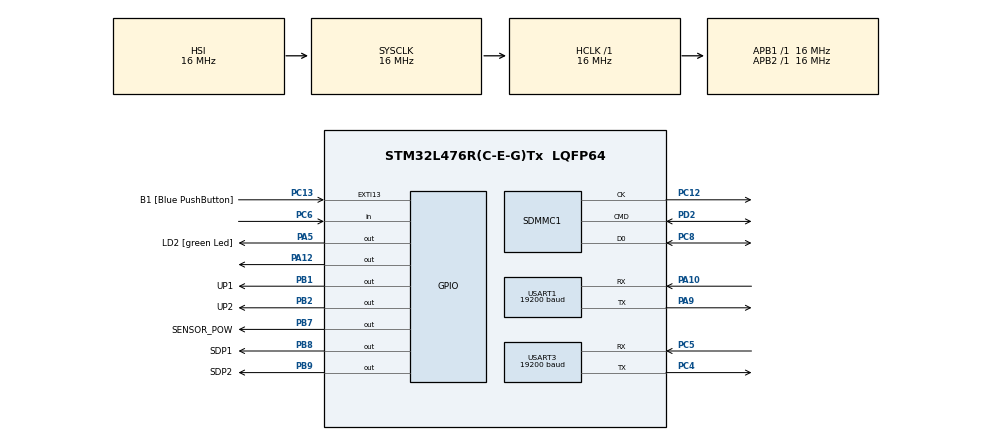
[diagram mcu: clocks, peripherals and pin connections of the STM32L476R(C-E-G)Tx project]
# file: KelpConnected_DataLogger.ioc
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FATFS.BSP.number=1
FATFS0.BSP.STBoard=false
FATFS0.BSP.api=Unknown
FATFS0.BSP.instance=PC6
FATFS0.BSP.ip=GPIO
FATFS0.BSP.mode=Input
FATFS0.BSP.name=Detect_SDIO
FATFS0.BSP.solution=PC6
Mcu.Family=STM32L4
Mcu.Name=STM32L476R(C-E-G)Tx
Mcu.Package=LQFP64
NVIC.PriorityGroup=NVIC_PRIORITYGROUP_4
NVIC.RTC_WKUP_IRQn=true\:0\:0\:false\:false\:true\:true\:true\:true
NVIC.TIM2_IRQn=true\:0\:0\:false\:false\:true\:true\:true\:true
NVIC.USART1_IRQn=true\:0\:0\:false\:false\:true\:true\:true\:true
NVIC.USART3_IRQn=true\:0\:0\:false\:false\:true\:true\:true\:true
PA10.Mode=Asynchronous
PA10.Signal=USART1_RX
PA12.Signal=GPIO_Output
PA13\ (JTMS-SWDIO).GPIO_Label=TMS
PA13\ (JTMS-SWDIO).Mode=Serial_Wire
PA13\ (JTMS-SWDIO).Signal=SYS_JTMS-SWDIO
PA14\ (JTCK-SWCLK).GPIO_Label=TCK
PA14\ (JTCK-SWCLK).Mode=Serial_Wire
PA14\ (JTCK-SWCLK).Signal=SYS_JTCK-SWCLK
PA2.GPIO_Label=USART_TX
PA2.GPIO_Mode=GPIO_MODE_AF_PP
PA2.GPIO_PuPd=GPIO_NOPULL
PA2.GPIO_Speed=GPIO_SPEED_FREQ_VERY_HIGH
PA2.Signal=USART2_TX
PA3.GPIO_Label=USART_RX
PA3.GPIO_Mode=GPIO_MODE_AF_PP
PA3.GPIO_PuPd=GPIO_NOPULL
PA3.GPIO_Speed=GPIO_SPEED_FREQ_VERY_HIGH
PA3.Signal=USART2_RX
PA5.GPIO_Label=LD2 [green Led]
PA5.Signal=GPIO_Output
PA9.Mode=Asynchronous
PA9.Signal=USART1_TX
PB1.GPIO_Label=UP1
PB1.Signal=GPIO_Output
PB2.GPIO_Label=UP2
PB2.Signal=GPIO_Output
PB7.GPIO_FM7=__NULL
PB7.GPIO_Label=SENSOR_POW
PB7.Signal=GPIO_Output
PB8.GPIO_Label=SDP1
PB8.Signal=GPIO_Output
PB9.GPIO_FM9=__NULL
PB9.GPIO_Label=SDP2
PB9.Signal=GPIO_Output
PC12.Mode=SD_1_bit
PC12.Signal=SDMMC1_CK
PC13.GPIO_Label=B1 [Blue PushButton]
PC13.GPIO_ModeDefaultEXTI=GPIO_MODE_IT_FALLING
PC13.GPIO_PuPd=GPIO_NOPULL
PC13.Signal=GPXTI13
PC14-OSC32_IN\ (PC14).Mode=LSE-External-Oscillator
PC14-OSC32_IN\ (PC14).Signal=RCC_OSC32_IN
PC15-OSC32_OUT\ (PC15).Mode=LSE-External-Oscillator
PC15-OSC32_OUT\ (PC15).Signal=RCC_OSC32_OUT
PC4.Mode=Asynchronous
PC4.Signal=USART3_TX
PC5.Mode=Asynchronous
PC5.Signal=USART3_RX
PC6.Signal=GPIO_Input
PC8.Mode=SD_1_bit
PC8.Signal=SDMMC1_D0
PD2.Mode=SD_1_bit
PD2.Signal=SDMMC1_CMD
PH0-OSC_IN\ (PH0).Signal=RCC_OSC_IN
PH1-OSC_OUT\ (PH1).Signal=RCC_OSC_OUT
ProjectManager.HeapSize=0x400
ProjectManager.StackSize=0x800
ProjectManager.TargetToolchain=STM32CubeIDE
RCC.ADCFreq_Value=64000000
RCC.AHBFreq_Value=16000000
RCC.APB1Freq_Value=16000000
RCC.APB1TimFreq_Value=16000000
RCC.APB2Freq_Value=16000000
RCC.APB2TimFreq_Value=16000000
RCC.CK48CLockSelection=RCC_USBCLKSOURCE_MSI
RCC.CortexFreq_Value=16000000
RCC.HCLKFreq_Value=16000000
RCC.HSE_VALUE=8000000
RCC.HSI_VALUE=16000000
RCC.MSIClockRange=RCC_MSIRANGE_4
RCC.MSI_VALUE=1000000
RCC.PLLSAI1Q=RCC_PLLQ_DIV4
RCC.PLLSourceVirtual=RCC_PLLSOURCE_HSI
RCC.PREFETCH_ENABLE=1
RCC.RTCClockSelection=RCC_RTCCLKSOURCE_LSE
RCC.SYSCLKFreq_VALUE=16000000
RCC.SYSCLKSource=RCC_SYSCLKSOURCE_HSI
RCC.USBFreq_Value=1000000
RCC.VCOOutputFreq_Value=128000000
RTC.WakeUpClock-WakeUp=RTC_WAKEUPCLOCK_CK_SPRE_16BITS
RTC.WakeUpCounter-WakeUp=0
TIM2.Period=1000
TIM2.Prescaler=15999
USART1.BaudRate=19200
USART1.VirtualMode-Asynchronous=VM_ASYNC
USART3.BaudRate=19200
USART3.VirtualMode-Asynchronous=VM_ASYNC
VP_FATFS_VS_SDIO.Mode=SDIO
VP_RTC_VS_RTC_Activate.Mode=RTC_Enabled
VP_RTC_VS_RTC_WakeUp_intern.Mode=WakeUp
VP_TIM2_VS_ClockSourceINT.Mode=Internal
board=NUCLEO-L476RG

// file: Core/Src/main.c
/* USER CODE BEGIN Header */
/**
  ******************************************************************************
  * @file           : main.c
  * @brief          : Main program body
  * @author			: Miloh Padgett
  * @date			: 06-09-2023
  ******************************************************************************
  *
  ******************************************************************************
  */
/* USER CODE END Header */
#include "main.h"
#include "fatfs.h"

/* USER CODE BEGIN PTD */
#include <string.h>
#define MAX_BUFFER 16384
#define CONNECT 2
#define CONFIGURE 3
#define DOWNLOAD 4
#define FIN 1
void startup_delay();
/* USER CODE END PTD */

RTC_HandleTypeDef hrtc;

SD_HandleTypeDef hsd1;

TIM_HandleTypeDef htim2;

UART_HandleTypeDef huart1;
UART_HandleTypeDef huart3;

/* USER CODE BEGIN PV */
uint8_t buffer_index = 0;
uint8_t *write_buff;
uint8_t err[] = "error";
uint8_t cmd[4];
uint8_t buff[MAX_BUFFER];
uint8_t byte;
int pos = 0;
int ready = 0;
int auton = 0;
int sleep = 0;
int download = 0;
long elapsedTime = 0;

struct Config{
	uint32_t t_between;
	uint32_t smpl_duration;
	uint32_t start_delay;
}config;
/* USER CODE END PV */

void SystemClock_Config(void);
static void MX_GPIO_Init(void);
static void MX_USART1_UART_Init(void);
static void MX_SDMMC1_SD_Init(void);
static void MX_RTC_Init(void);
static void MX_TIM2_Init(void);
static void MX_USART3_UART_Init(void);

/* USER CODE BEGIN 0 */
void HAL_UART_RxCpltCallback(UART_HandleTypeDef *huart)
{

  if (huart->Instance == USART3)
  {
	  /*communication with the PC*/

	  uint8_t ack = '8';
	  uint8_t err = '9';
	  int type = (int)cmd[0];
	  int DB1 = (int)cmd[1];
	  int DB2 = (int)cmd[2];
	  int DB3 = (int)cmd[3];

	  switch(type){
	  	  case CONNECT:
	  		  /*transmit an ack and wait for command*/
	  		  HAL_UART_Transmit(&huart3, &ack, 1, 100);
	  		  HAL_UART_Receive_IT(&huart3, cmd, 4);
	  		  break;
	  	  case CONFIGURE:
	  		/*transmit an ack and parse configuration settings*/
	  		  HAL_UART_Transmit(&huart3, &ack, 1, 100);
	  		  config.t_between = 60*DB1;
	  		  config.smpl_duration = DB2;
	  		  config.start_delay = 3600*DB3;
	  		  HAL_UART_Receive_IT(&huart3, cmd, 4);
	  		  break;
	  	  case FIN:
	  		  /*transmit a deployment ack*/
	  		  HAL_UART_Transmit(&huart3, &ack, 1, 100);
	  		  ready = 1;
	  		  break;
	  	  default:
	  		  HAL_UART_Transmit(&huart3, &err, 1, 100);
	  		  break;
	  }

  }

  if (huart->Instance == USART1){
	  /*communication with the sensor*/

	  if ((elapsedTime <= config.smpl_duration))
	  {
		  /*if sample time has not elapsed, store byte from sensor*/
		  buff[pos] = byte;
	  	  pos++;
	  	  HAL_UART_Receive_IT(&huart1, &byte, 1);
	  }
	  else{

		  /*if sample time has elapsed, turn off sensor and stop timer*/
		  GPIOB->BRR = (UP1_Pin | UP2_Pin | SENSOR_POW_Pin);
		  HAL_TIM_Base_Stop_IT(&htim2);
		  elapsedTime = 0;
		  sleep = 1;
	  }

  }

}

void format_SD(){
	/*format the SD card on startup*/
	FATFS fs;
	FRESULT res; /* FatFs function common result code */
	uint8_t rtext[_MAX_SS];/* File read buffer */
	GPIOB->BSRR = (SDP1_Pin | SDP2_Pin);
	HAL_Delay(5);

	res = f_mount(&SDFatFS, SDPath, 1);
	if(res != FR_OK) {
		Error_Handler();
	}
	else
	{
		if(f_mkfs((TCHAR const*)SDPath, FM_ANY, 0, rtext, sizeof(rtext)) != FR_OK)
		{
			Error_Handler();
		}
		else
		{
			//Open file for writing (Create)
			if(f_open(&SDFile, "LOG.TXT", FA_CREATE_ALWAYS | FA_WRITE) != FR_OK)
			{
				Error_Handler();
			}
			f_close(&SDFile);
		}
	}
	/*unmount and turn off sd card*/
	f_mount(&SDFatFS, (TCHAR const*)NULL, 0);
	FATFS_UnLinkDriver(SDPath);
	HAL_Delay(5);
	GPIOB->BRR = (SDP1_Pin | SDP2_Pin);

}

void startup_delay(){
	/*format SD card and then delay for specified time*/
	format_SD();
	if(config.start_delay>0){
		HAL_SuspendTick();
		HAL_RTCEx_SetWakeUpTimer_IT(&hrtc, config.start_delay, RTC_WAKEUPCLOCK_CK_SPRE_16BITS);

		/* Enter STOP 2 mode */
		HAL_PWREx_EnterSTOP2Mode(PWR_STOPENTRY_WFI);
		HAL_RTCEx_DeactivateWakeUpTimer(&hrtc);
		SystemClock_Config();
		HAL_ResumeTick();
	}
	ready = 0;
	auton = 1;

}

void collect_loop(){
	 /*start listening to Sensor, and turn on timer*/

	 //turn on sensor
	 GPIOB->BSRR = (UP1_Pin | UP2_Pin | SENSOR_POW_Pin);
	 HAL_Delay(5);

	 /*timer*/
	 HAL_TIM_Base_Start_IT(&htim2);
	 HAL_UART_Receive_IT(&huart1, &byte, 1);
	 /*dont enter this loop right now*/
	 auton = 0;

}

int cbuff(uint8_t* new_buff){
	/*ignore incomplete lines of data*/
	int begin = 0;
	int end = MAX_BUFFER - 1;
	int len = 0;
	while((buff[begin] != '\n') && (begin < pos)){
		begin ++;
	}
	while((buff[end] != '\n') && (end > 0)){
		end --;
	}
	end++;
	len = end - begin;
	memcpy(new_buff, &buff[begin], len);
	return len;

}

void write_SD(uint8_t *new_buff, int len){
	/*write data to the SD card*/
	FRESULT res;
	uint32_t byteswritten;

	GPIOB->BSRR = (SDP1_Pin | SDP2_Pin);
	HAL_Delay(100);
	MX_FATFS_Init();
	res = f_mount(&SDFatFS, SDPath, 1);
	if(res != FR_OK) {
		Error_Handler();
	}
	else{
		//Open file for writing (Append)
		if(f_open(&SDFile, "LOG.TXT", FA_OPEN_APPEND | FA_WRITE) != FR_OK)
		{
			Error_Handler();
		}
		else
		{
			//Write to the text file
			res = f_write(&SDFile, new_buff, len, (void *)&byteswritten);
			if((byteswritten == 0) || (res != FR_OK))
			{
				Error_Handler();
			}
			else{
				f_close(&SDFile);
			}
		}
	}
	/*unmount and turn off SD card*/
	f_mount(&SDFatFS, (TCHAR const*)NULL, 0);
	FATFS_UnLinkDriver(SDPath);
	HAL_Delay(5);
	GPIOB->BRR = (SDP1_Pin | SDP2_Pin);

}

void sleep_between(){
	  /*write data to sd card and then sleep for interval*/
	  uint8_t new_buff[MAX_BUFFER];
	  int len;
	  len = cbuff(new_buff);
	  pos = 0;

	  /*write to SD card*/
	  write_SD(new_buff, len);
	  for(int i= 0; i< MAX_BUFFER; i++){
		  buff[i] = 0;
	  }

	  HAL_SuspendTick();
	  HAL_RTCEx_SetWakeUpTimer_IT(&hrtc, config.t_between, RTC_WAKEUPCLOCK_CK_SPRE_16BITS);

	  /* Enter STOP 2 mode */
	  HAL_PWREx_EnterSTOP2Mode(PWR_STOPENTRY_WFI);
	  HAL_RTCEx_DeactivateWakeUpTimer(&hrtc);
	  SystemClock_Config();
	  HAL_ResumeTick();

	  auton = 1;
	  sleep = 0;

}

void HAL_TIM_PeriodElapsedCallback(TIM_HandleTypeDef *htim){
		elapsedTime++;
}

/* USER CODE END 0 */

int main(void)
{

  /* MCU Configuration--------------------------------------------------------*/

  /* Reset of all peripherals, Initializes the Flash interface and the Systick. */
  HAL_Init();

  /* Configure the system clock */
  SystemClock_Config();

  /* Initialize all configured peripherals */
  MX_GPIO_Init();
  MX_USART1_UART_Init();
  MX_SDMMC1_SD_Init();
  MX_FATFS_Init();
  MX_RTC_Init();
  MX_TIM2_Init();
  MX_USART3_UART_Init();
  /* USER CODE BEGIN 2 */

  /*begin reveiving commands*/
  HAL_UART_Receive_IT(&huart3, cmd, 4);

  /* USER CODE END 2 */

  /* Infinite loop */
  /* USER CODE BEGIN WHILE */
  while (1)
  {
	  /*state machine*/
	  if(ready == 1){
		  startup_delay();
	  }
	  if(auton == 1){
		  collect_loop();
	  }
	  if(sleep == 1){
		  sleep_between();
	  }

    /* USER CODE END WHILE */

  }
}

void SystemClock_Config(void)
{
  RCC_OscInitTypeDef RCC_OscInitStruct = {0};
  RCC_ClkInitTypeDef RCC_ClkInitStruct = {0};

  /** Configure the main internal regulator output voltage
  */
  if (HAL_PWREx_ControlVoltageScaling(PWR_REGULATOR_VOLTAGE_SCALE1) != HAL_OK)
  {
    Error_Handler();
  }

  /** Configure LSE Drive Capability
  */
  HAL_PWR_EnableBkUpAccess();
  __HAL_RCC_LSEDRIVE_CONFIG(RCC_LSEDRIVE_LOW);

  /** Initializes the RCC Oscillators according to the specified parameters
  * in the RCC_OscInitTypeDef structure.
  */
  RCC_OscInitStruct.OscillatorType = RCC_OSCILLATORTYPE_HSI|RCC_OSCILLATORTYPE_LSE
                              |RCC_OSCILLATORTYPE_MSI;
  RCC_OscInitStruct.LSEState = RCC_LSE_ON;
  RCC_OscInitStruct.HSIState = RCC_HSI_ON;
  RCC_OscInitStruct.HSICalibrationValue = RCC_HSICALIBRATION_DEFAULT;
  RCC_OscInitStruct.MSIState = RCC_MSI_ON;
  RCC_OscInitStruct.MSICalibrationValue = 0;
  RCC_OscInitStruct.MSIClockRange = RCC_MSIRANGE_4;
  RCC_OscInitStruct.PLL.PLLState = RCC_PLL_NONE;
  if (HAL_RCC_OscConfig(&RCC_OscInitStruct) != HAL_OK)
  {
    Error_Handler();
  }

  /** Initializes the CPU, AHB and APB buses clocks
  */
  RCC_ClkInitStruct.ClockType = RCC_CLOCKTYPE_HCLK|RCC_CLOCKTYPE_SYSCLK
                              |RCC_CLOCKTYPE_PCLK1|RCC_CLOCKTYPE_PCLK2;
  RCC_ClkInitStruct.SYSCLKSource = RCC_SYSCLKSOURCE_HSI;
  RCC_ClkInitStruct.AHBCLKDivider = RCC_SYSCLK_DIV1;
  RCC_ClkInitStruct.APB1CLKDivider = RCC_HCLK_DIV1;
  RCC_ClkInitStruct.APB2CLKDivider = RCC_HCLK_DIV1;

  if (HAL_RCC_ClockConfig(&RCC_ClkInitStruct, FLASH_LATENCY_0) != HAL_OK)
  {
    Error_Handler();
  }

  /** Enable MSI Auto calibration
  */
  HAL_RCCEx_EnableMSIPLLMode();
}

static void MX_RTC_Init(void)
{

  /** Initialize RTC Only
  */
  hrtc.Instance = RTC;
  hrtc.Init.HourFormat = RTC_HOURFORMAT_24;
  hrtc.Init.AsynchPrediv = 127;
  hrtc.Init.SynchPrediv = 255;
  hrtc.Init.OutPut = RTC_OUTPUT_DISABLE;
  hrtc.Init.OutPutRemap = RTC_OUTPUT_REMAP_NONE;
  hrtc.Init.OutPutPolarity = RTC_OUTPUT_POLARITY_HIGH;
  hrtc.Init.OutPutType = RTC_OUTPUT_TYPE_OPENDRAIN;
  if (HAL_RTC_Init(&hrtc) != HAL_OK)
  {
    Error_Handler();
  }

}

static void MX_SDMMC1_SD_Init(void)
{

  hsd1.Instance = SDMMC1;
  hsd1.Init.ClockEdge = SDMMC_CLOCK_EDGE_RISING;
  hsd1.Init.ClockBypass = SDMMC_CLOCK_BYPASS_DISABLE;
  hsd1.Init.ClockPowerSave = SDMMC_CLOCK_POWER_SAVE_DISABLE;
  hsd1.Init.BusWide = SDMMC_BUS_WIDE_1B;
  hsd1.Init.HardwareFlowControl = SDMMC_HARDWARE_FLOW_CONTROL_DISABLE;
  hsd1.Init.ClockDiv = 0;

}

static void MX_TIM2_Init(void)
{

  TIM_ClockConfigTypeDef sClockSourceConfig = {0};
  TIM_MasterConfigTypeDef sMasterConfig = {0};

  htim2.Instance = TIM2;
  htim2.Init.Prescaler = 15999;
  htim2.Init.CounterMode = TIM_COUNTERMODE_UP;
  htim2.Init.Period = 1000;
  htim2.Init.ClockDivision = TIM_CLOCKDIVISION_DIV1;
  htim2.Init.AutoReloadPreload = TIM_AUTORELOAD_PRELOAD_DISABLE;
  if (HAL_TIM_Base_Init(&htim2) != HAL_OK)
  {
    Error_Handler();
  }
  sClockSourceConfig.ClockSource = TIM_CLOCKSOURCE_INTERNAL;
  if (HAL_TIM_ConfigClockSource(&htim2, &sClockSourceConfig) != HAL_OK)
  {
    Error_Handler();
  }
  sMasterConfig.MasterOutputTrigger = TIM_TRGO_RESET;
  sMasterConfig.MasterSlaveMode = TIM_MASTERSLAVEMODE_DISABLE;
  if (HAL_TIMEx_MasterConfigSynchronization(&htim2, &sMasterConfig) != HAL_OK)
  {
    Error_Handler();
  }

}

static void MX_USART1_UART_Init(void)
{

  huart1.Instance = USART1;
  huart1.Init.BaudRate = 19200;
  huart1.Init.WordLength = UART_WORDLENGTH_8B;
  huart1.Init.StopBits = UART_STOPBITS_1;
  huart1.Init.Parity = UART_PARITY_NONE;
  huart1.Init.Mode = UART_MODE_TX_RX;
  huart1.Init.HwFlowCtl = UART_HWCONTROL_NONE;
  huart1.Init.OverSampling = UART_OVERSAMPLING_16;
  huart1.Init.OneBitSampling = UART_ONE_BIT_SAMPLE_DISABLE;
  huart1.AdvancedInit.AdvFeatureInit = UART_ADVFEATURE_NO_INIT;
  if (HAL_UART_Init(&huart1) != HAL_OK)
  {
    Error_Handler();
  }
  /* USER CODE BEGIN USART1_Init 2 */
  HAL_NVIC_SetPriority(USART1_IRQn, 0, 0);
  HAL_NVIC_EnableIRQ(USART1_IRQn);
  /* USER CODE END USART1_Init 2 */

}

static void MX_USART3_UART_Init(void)
{

  huart3.Instance = USART3;
  huart3.Init.BaudRate = 19200;
  huart3.Init.WordLength = UART_WORDLENGTH_8B;
  huart3.Init.StopBits = UART_STOPBITS_1;
  huart3.Init.Parity = UART_PARITY_NONE;
  huart3.Init.Mode = UART_MODE_TX_RX;
  huart3.Init.HwFlowCtl = UART_HWCONTROL_NONE;
  huart3.Init.OverSampling = UART_OVERSAMPLING_16;
  huart3.Init.OneBitSampling = UART_ONE_BIT_SAMPLE_DISABLE;
  huart3.AdvancedInit.AdvFeatureInit = UART_ADVFEATURE_NO_INIT;
  if (HAL_UART_Init(&huart3) != HAL_OK)
  {
    Error_Handler();
  }
  /* USER CODE BEGIN USART3_Init 2 */
  HAL_NVIC_SetPriority(USART3_IRQn, 0, 0);
  HAL_NVIC_EnableIRQ(USART3_IRQn);
  /* USER CODE END USART3_Init 2 */

}

static void MX_GPIO_Init(void)
{
  GPIO_InitTypeDef GPIO_InitStruct = {0};

  /* GPIO Ports Clock Enable */
  __HAL_RCC_GPIOC_CLK_ENABLE();
  __HAL_RCC_GPIOH_CLK_ENABLE();
  __HAL_RCC_GPIOA_CLK_ENABLE();
  __HAL_RCC_GPIOB_CLK_ENABLE();
  __HAL_RCC_GPIOD_CLK_ENABLE();

  /*Configure GPIO pin Output Level */
  HAL_GPIO_WritePin(GPIOA, LD2_Pin|GPIO_PIN_12, GPIO_PIN_RESET);

  /*Configure GPIO pin Output Level */
  HAL_GPIO_WritePin(GPIOB, UP1_Pin|UP2_Pin|SENSOR_POW_Pin|SDP1_Pin
                          |SDP2_Pin, GPIO_PIN_RESET);

  /*Configure GPIO pin : B1_Pin */
  GPIO_InitStruct.Pin = B1_Pin;
  GPIO_InitStruct.Mode = GPIO_MODE_IT_FALLING;
  GPIO_InitStruct.Pull = GPIO_NOPULL;
  HAL_GPIO_Init(B1_GPIO_Port, &GPIO_InitStruct);

  /*Configure GPIO pins : USART_TX_Pin USART_RX_Pin */
  GPIO_InitStruct.Pin = USART_TX_Pin|USART_RX_Pin;
  GPIO_InitStruct.Mode = GPIO_MODE_AF_PP;
  GPIO_InitStruct.Pull = GPIO_NOPULL;
  GPIO_InitStruct.Speed = GPIO_SPEED_FREQ_VERY_HIGH;
  GPIO_InitStruct.Alternate = GPIO_AF7_USART2;
  HAL_GPIO_Init(GPIOA, &GPIO_InitStruct);

  /*Configure GPIO pins : LD2_Pin PA12 */
  GPIO_InitStruct.Pin = LD2_Pin|GPIO_PIN_12;
  GPIO_InitStruct.Mode = GPIO_MODE_OUTPUT_PP;
  GPIO_InitStruct.Pull = GPIO_NOPULL;
  GPIO_InitStruct.Speed = GPIO_SPEED_FREQ_LOW;
  HAL_GPIO_Init(GPIOA, &GPIO_InitStruct);

  /*Configure GPIO pins : UP1_Pin UP2_Pin SENSOR_POW_Pin SDP1_Pin
                           SDP2_Pin */
  GPIO_InitStruct.Pin = UP1_Pin|UP2_Pin|SENSOR_POW_Pin|SDP1_Pin
                          |SDP2_Pin;
  GPIO_InitStruct.Mode = GPIO_MODE_OUTPUT_PP;
  GPIO_InitStruct.Pull = GPIO_NOPULL;
  GPIO_InitStruct.Speed = GPIO_SPEED_FREQ_LOW;
  HAL_GPIO_Init(GPIOB, &GPIO_InitStruct);

  /*Configure GPIO pin : PC6 */
  GPIO_InitStruct.Pin = GPIO_PIN_6;
  GPIO_InitStruct.Mode = GPIO_MODE_INPUT;
  GPIO_InitStruct.Pull = GPIO_NOPULL;
  HAL_GPIO_Init(GPIOC, &GPIO_InitStruct);

}

void Error_Handler(void)
{
  /* USER CODE BEGIN Error_Handler_Debug */
  /* User can add his own implementation to report the HAL error return state */
	//HAL_UART_Transmit(&huart2, err, 5, 100);
  //__disable_irq();
  while (1)
  {
  }
  /* USER CODE END Error_Handler_Debug */
}
